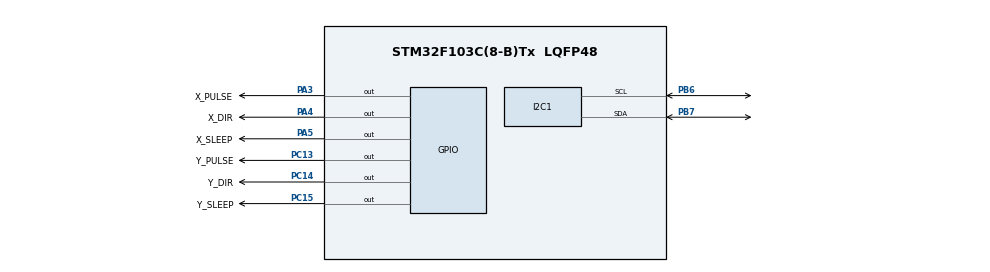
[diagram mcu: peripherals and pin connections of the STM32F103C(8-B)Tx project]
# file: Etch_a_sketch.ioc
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I2C1.OwnAddress=0x42
Mcu.Family=STM32F1
Mcu.Name=STM32F103C(8-B)Tx
Mcu.Package=LQFP48
NVIC.I2C1_EV_IRQn=true\:0\:0\:false\:false\:true\:true\:true\:true
NVIC.PriorityGroup=NVIC_PRIORITYGROUP_4
PA13.Mode=Serial_Wire
PA13.Signal=SYS_JTMS-SWDIO
PA14.Mode=Serial_Wire
PA14.Signal=SYS_JTCK-SWCLK
PA3.GPIO_Label=X_PULSE
PA3.Signal=GPIO_Output
PA4.GPIO_Label=X_DIR
PA4.Signal=GPIO_Output
PA5.GPIO_Label=X_SLEEP
PA5.Signal=GPIO_Output
PB6.Mode=I2C
PB6.Signal=I2C1_SCL
PB7.Mode=I2C
PB7.Signal=I2C1_SDA
PC13-TAMPER-RTC.GPIO_Label=Y_PULSE
PC13-TAMPER-RTC.Signal=GPIO_Output
PC14-OSC32_IN.GPIO_Label=Y_DIR
PC14-OSC32_IN.Signal=GPIO_Output
PC15-OSC32_OUT.GPIO_Label=Y_SLEEP
PC15-OSC32_OUT.Signal=GPIO_Output
ProjectManager.HeapSize=0x200
ProjectManager.StackSize=0x400
ProjectManager.TargetToolchain=Makefile
RCC.APB1Freq_Value=8000000
RCC.APB2Freq_Value=8000000
board=custom

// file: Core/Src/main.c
/* USER CODE BEGIN Header */
/**
 ******************************************************************************
 * @file           : main.c
 * @brief          : Main program body
 ******************************************************************************
 * @attention
 *
 * Copyright (c) 2023 STMicroelectronics.
 * All rights reserved.
 *
 * This software is licensed under terms that can be found in the LICENSE file
 * in the root directory of this software component.
 * If no LICENSE file comes with this software, it is provided AS-IS.
 *
 ******************************************************************************
 */
/* USER CODE END Header */
#include "main.h"

/* USER CODE BEGIN Includes */
#include <string.h>
/* USER CODE END Includes */

/* USER CODE BEGIN PD */
int cmd_cnt;
uint8_t command_buf[BUF_SIZE] = {0};
/* USER CODE END PD */

I2C_HandleTypeDef hi2c1;

void SystemClock_Config(void);
static void MX_GPIO_Init(void);
static void MX_I2C1_Init(void);
/* USER CODE BEGIN PFP */
void int_of_bytes(uint8_t *buf, int *x, int *y)
{
  for (int i = 0; i < 4; i++)
  {
    (*x) += (buf[i] << 8 * i);
    (*y) += (buf[i + 4] << 8 * i);
  }
}

/* USER CODE END PFP */

int main(void)
{
  /* USER CODE BEGIN 1 */
  motor motor_x = {X_PULSE_Pin, X_DIR_Pin, X_SLEEP_Pin, X_PULSE_GPIO_Port};
  motor motor_y = {Y_PULSE_Pin, Y_DIR_Pin, Y_SLEEP_Pin, Y_PULSE_GPIO_Port};
  motor_pair etch_a_sketch = {motor_x, motor_y};
  cmd_cnt = 0;
  memset(command_buf, 0, BUF_SIZE);
  /* USER CODE END 1 */

  /* MCU Configuration--------------------------------------------------------*/

  /* Reset of all peripherals, Initializes the Flash interface and the Systick. */
  HAL_Init();

  /* Configure the system clock */
  SystemClock_Config();

  /* Initialize all configured peripherals */
  MX_GPIO_Init();
  MX_I2C1_Init();

  /* Infinite loop */
  /* USER CODE BEGIN WHILE */
  while (1)
  {
    if (cmd_cnt >= 8)
    {
      int x = 0;
      int y = 0;
      int_of_bytes(command_buf, &x, &y);
      cmd_cnt -= 8;
      motor_pair_move(etch_a_sketch, x, y);
    }
    /* USER CODE END WHILE */

  }
}

void SystemClock_Config(void)
{
  RCC_OscInitTypeDef RCC_OscInitStruct = {0};
  RCC_ClkInitTypeDef RCC_ClkInitStruct = {0};

  /** Initializes the RCC Oscillators according to the specified parameters
   * in the RCC_OscInitTypeDef structure.
   */
  RCC_OscInitStruct.OscillatorType = RCC_OSCILLATORTYPE_HSI;
  RCC_OscInitStruct.HSIState = RCC_HSI_ON;
  RCC_OscInitStruct.HSICalibrationValue = RCC_HSICALIBRATION_DEFAULT;
  RCC_OscInitStruct.PLL.PLLState = RCC_PLL_NONE;
  if (HAL_RCC_OscConfig(&RCC_OscInitStruct) != HAL_OK)
  {
    Error_Handler();
  }

  /** Initializes the CPU, AHB and APB buses clocks
   */
  RCC_ClkInitStruct.ClockType = RCC_CLOCKTYPE_HCLK | RCC_CLOCKTYPE_SYSCLK | RCC_CLOCKTYPE_PCLK1 | RCC_CLOCKTYPE_PCLK2;
  RCC_ClkInitStruct.SYSCLKSource = RCC_SYSCLKSOURCE_HSI;
  RCC_ClkInitStruct.AHBCLKDivider = RCC_SYSCLK_DIV1;
  RCC_ClkInitStruct.APB1CLKDivider = RCC_HCLK_DIV1;
  RCC_ClkInitStruct.APB2CLKDivider = RCC_HCLK_DIV1;

  if (HAL_RCC_ClockConfig(&RCC_ClkInitStruct, FLASH_LATENCY_0) != HAL_OK)
  {
    Error_Handler();
  }
}

static void MX_I2C1_Init(void)
{

  hi2c1.Instance = I2C1;
  hi2c1.Init.ClockSpeed = 100000;
  hi2c1.Init.DutyCycle = I2C_DUTYCYCLE_2;
  hi2c1.Init.OwnAddress1 = 0;
  hi2c1.Init.AddressingMode = I2C_ADDRESSINGMODE_7BIT;
  hi2c1.Init.DualAddressMode = I2C_DUALADDRESS_DISABLE;
  hi2c1.Init.OwnAddress2 = 0;
  hi2c1.Init.GeneralCallMode = I2C_GENERALCALL_DISABLE;
  hi2c1.Init.NoStretchMode = I2C_NOSTRETCH_DISABLE;
  if (HAL_I2C_Init(&hi2c1) != HAL_OK)
  {
    Error_Handler();
  }
}

static void MX_GPIO_Init(void)
{
  GPIO_InitTypeDef GPIO_InitStruct = {0};

  /* GPIO Ports Clock Enable */
  __HAL_RCC_GPIOC_CLK_ENABLE();
  __HAL_RCC_GPIOA_CLK_ENABLE();
  __HAL_RCC_GPIOB_CLK_ENABLE();

  /*Configure GPIO pin Output Level */
  HAL_GPIO_WritePin(GPIOC, Y_PULSE_Pin | Y_DIR_Pin | Y_SLEEP_Pin, GPIO_PIN_RESET);

  /*Configure GPIO pin Output Level */
  HAL_GPIO_WritePin(GPIOA, X_PULSE_Pin | X_DIR_Pin | X_SLEEP_Pin, GPIO_PIN_RESET);

  /*Configure GPIO pins : Y_PULSE_Pin Y_DIR_Pin Y_SLEEP_Pin */
  GPIO_InitStruct.Pin = Y_PULSE_Pin | Y_DIR_Pin | Y_SLEEP_Pin;
  GPIO_InitStruct.Mode = GPIO_MODE_OUTPUT_PP;
  GPIO_InitStruct.Pull = GPIO_NOPULL;
  GPIO_InitStruct.Speed = GPIO_SPEED_FREQ_LOW;
  HAL_GPIO_Init(GPIOC, &GPIO_InitStruct);

  /*Configure GPIO pins : X_PULSE_Pin X_DIR_Pin X_SLEEP_Pin */
  GPIO_InitStruct.Pin = X_PULSE_Pin | X_DIR_Pin | X_SLEEP_Pin;
  GPIO_InitStruct.Mode = GPIO_MODE_OUTPUT_PP;
  GPIO_InitStruct.Pull = GPIO_NOPULL;
  GPIO_InitStruct.Speed = GPIO_SPEED_FREQ_LOW;
  HAL_GPIO_Init(GPIOA, &GPIO_InitStruct);
}

void Error_Handler(void)
{
  __disable_irq();
  while (1)
  {
  }
}
